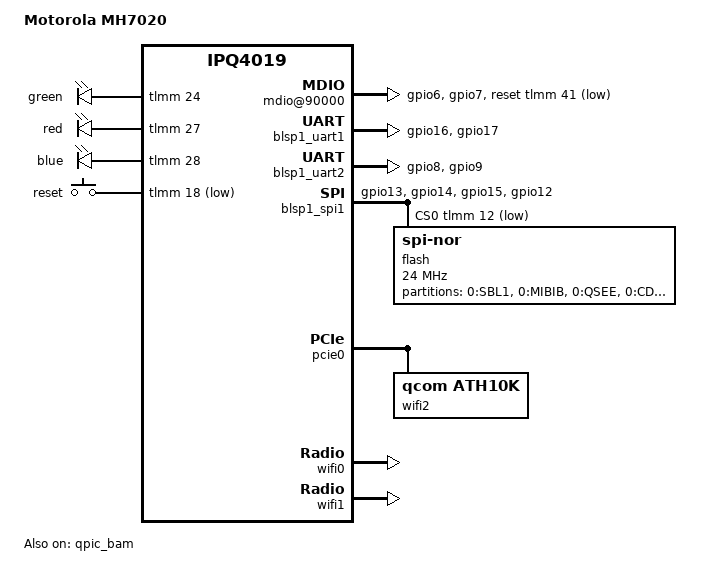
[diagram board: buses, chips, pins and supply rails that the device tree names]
// SPDX-License-Identifier: GPL-2.0-or-later OR MIT

#include "qcom-ipq4019.dtsi"
#include <dt-bindings/gpio/gpio.h>
#include <dt-bindings/input/input.h>
#include <dt-bindings/soc/qcom,tcsr.h>

/ {
	model = "Motorola MH7020";
	compatible = "motorola,mh7020";

	aliases {
		led-boot = &led_green;
		led-failsafe = &led_blue;
		led-running = &led_green;
		led-upgrade = &led_red;
		serial0 = &blsp1_uart1;
		serial1 = &blsp1_uart2;
		ethernet0 = &gmac1;
		ethernet1 = &gmac0;
	};

	soc {
		rng@22000 {
			status = "okay";
		};

		mdio@90000 {
			status = "okay";
			pinctrl-0 = <&mdio_pins>;
			pinctrl-names = "default";
			reset-gpios = <&tlmm 41 GPIO_ACTIVE_LOW>;
			reset-delay-us = <2000>;
		};

		ess-psgmii@98000 {
			status = "okay";
		};

		tcsr@1949000 {
			compatible = "qcom,tcsr";
			reg = <0x1949000 0x100>;
			qcom,wifi_glb_cfg = <TCSR_WIFI_GLB_CFG>;
		};

		ess_tcsr@1953000 {
			compatible = "qcom,tcsr";
			reg = <0x1953000 0x1000>;
			qcom,ess-interface-select = <TCSR_ESS_PSGMII>;
		};

		tcsr@1957000 {
			compatible = "qcom,tcsr";
			reg = <0x1957000 0x100>;
			qcom,wifi_noc_memtype_m0_m2 = <TCSR_WIFI_NOC_MEMTYPE_M0_M2>;
		};

		watchdog@b017000 {
			status = "okay";
		};

		ess-switch@c000000 {
			status = "okay";
		};

		edma@c080000 {
			status = "okay";
		};

		leds {
			compatible = "gpio-leds";
			pinctrl-0 = <&led_pins>;
			pinctrl-names = "default";

			led_green: green {
				label = "green";
				gpios = <&tlmm 24 GPIO_ACTIVE_HIGH>;
			};
			led_red: red {
				label = "red";
				gpios = <&tlmm 27 GPIO_ACTIVE_HIGH>;
			};
			led_blue: blue {
				label = "blue";
				gpios = <&tlmm 28 GPIO_ACTIVE_HIGH>;
			};
		};

		keys {
			compatible = "gpio-keys";

			reset {
				label = "reset";
				gpios = <&tlmm 18 GPIO_ACTIVE_LOW>;
				linux,code = <KEY_RESTART>;
			};
		};
	};
};

&blsp_dma {
	status = "okay";
};

&blsp1_uart1 {
	pinctrl-0 = <&serial_0_pins>;
	pinctrl-names = "default";
	status = "okay";
};

&blsp1_uart2 {
	pinctrl-0 = <&serial_1_pins>;
	pinctrl-names = "default";
	status = "okay";
};

&blsp1_spi1 {
	pinctrl-0 = <&spi_0_pins>;
	pinctrl-names = "default";
	status = "okay";
	cs-gpios = <&tlmm 12 GPIO_ACTIVE_LOW>;

	flash@0 {
		reg = <0>;
		compatible = "jedec,spi-nor";
		spi-max-frequency = <24000000>;
		broken-flash-reset;

		partitions {
			compatible = "fixed-partitions";
			#address-cells = <1>;
			#size-cells = <1>;

			partition@0 {
				label = "0:SBL1";
				reg = <0x0 0x40000>;
				read-only;
			};
			partition@40000 {
				label = "0:MIBIB";
				reg = <0x40000 0x20000>;
				read-only;
			};
			partition@60000 {
				label = "0:QSEE";
				reg = <0x60000 0x60000>;
				read-only;
			};
			partition@c0000 {
				label = "0:CDT";
				reg = <0xc0000 0x10000>;
				read-only;
			};
			partition@d0000 {
				label = "0:DDRPARAMS";
				reg = <0xd0000 0x10000>;
				read-only;
			};
			partition@e0000 {
				label = "0:APPSBLENV";
				reg = <0xe0000 0x10000>;
				read-only;
			};
			partition@f0000 {
				label = "0:APPSBL";
				reg = <0xf0000 0x80000>;
				read-only;
			};
			partition@170000 {
				label = "0:ART";
				reg = <0x170000 0x10000>;
				read-only;
			};
			partition@180000 {
				compatible = "denx,fit";
				label = "firmware";
				reg = <0x180000 0x1e70000>;
			};
			partition@1ff0000 {
				label = "certificates";
				reg = <0x1ff0000 0x10000>;
			};
		};
	};
};

&qpic_bam {
	status = "okay";
};

&pcie0 {
	status = "okay";

	perst-gpio = <&tlmm 38 GPIO_ACTIVE_LOW>;
	wake-gpio = <&tlmm 50 GPIO_ACTIVE_LOW>;

	bridge@0,0 {
		reg = <0x00000000 0 0 0 0>;
		#address-cells = <3>;
		#size-cells = <2>;
		ranges;

		wifi2: wifi@1,0 {
			compatible = "qcom,ath10k";
			reg = <0x00010000 0 0 0 0>;
		};
	};
};

&tlmm {
	mdio_pins: mdio_pinmux {
		mux_1 {
			pins = "gpio6";
			function = "mdio";
			bias-pull-up;
		};
		mux_2 {
			pins = "gpio7";
			function = "mdc";
			bias-pull-up;
		};
	};

	serial_0_pins: serial0-pinmux {
		mux {
			pins = "gpio16", "gpio17";
			function = "blsp_uart0";
			bias-disable;
		};
	};
	serial_1_pins: serial1_pinmux {
		mux {
			pins = "gpio8", "gpio9";
			function = "blsp_uart1";
			bias-disable;
		};
	};

	spi_0_pins: spi_0_pinmux {
		pinmux {
			function = "blsp_spi0";
			pins = "gpio13", "gpio14", "gpio15";
			drive-strength = <12>;
			bias-disable;
		};

		pinmux_cs {
			function = "gpio";
			pins = "gpio12";
			drive-strength = <2>;
			bias-disable;
			output-high;
		};
	};

	led_pins: led_pinmux {
		mux {
			function = "gpio";
			pins = "gpio68";
			bias-disabled;
			output-low;
		};
	};
};

&wifi0 {
	status = "okay";
	qcom,ath10k-calibration-variant = "motorola-mh7020";
};

&wifi1 {
	status = "okay";
};
